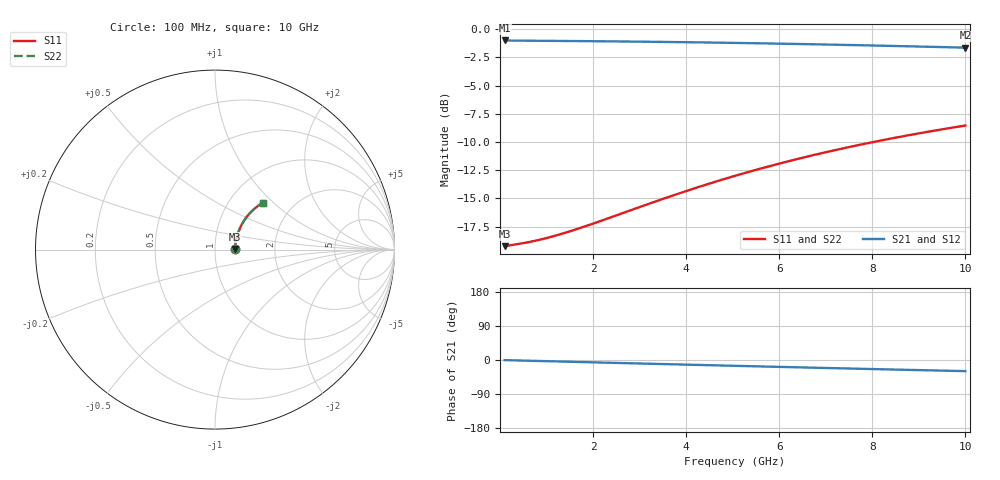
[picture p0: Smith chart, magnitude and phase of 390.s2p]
# Hz S RI R 50.00
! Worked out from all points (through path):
!   100 points, 100 MHz to 10 GHz, reference 50 ohm
!   highest |S21| = -1.00 dB at 100 MHz (marker M1); lowest = -1.6 dB at 10 GHz (marker M2)
!   group delay of S21, straight-line fit = 8.19 ps
!   lowest |S11| = -19.2 dB at 100 MHz (marker M3), VSWR 1.25, Z = 62.2 + j0.424 ohm
!   |S11| at or under -10 dB: start of sweep to 8.03 GHz
!   |S22| runs from -19.2 to -8.5 dB; largest |S21 - S12| = 0
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1e8  0.1091 0.00337  0.8909 -0.00481  0.8909 -0.00481  0.1091 0.00337
5e8  0.1113 0.0167  0.8886 -0.024  0.8886 -0.024  0.1113 0.0167
7e8  0.1123 0.0234  0.8876 -0.0335  0.8876 -0.0335  0.1123 0.0234
9e8  0.1133 0.03  0.8866 -0.043  0.8866 -0.043  0.1133 0.03
1.1e9  0.1144 0.0366  0.8855 -0.0525  0.8855 -0.0525  0.1144 0.0366
1.3e9  0.1156 0.0432  0.8842 -0.0619  0.8842 -0.0619  0.1156 0.0432
1.5e9  0.1169 0.0497  0.8829 -0.0714  0.8829 -0.0714  0.1169 0.0497
1.8e9  0.119 0.0595  0.8806 -0.0854  0.8806 -0.0854  0.119 0.0595
2.6e9  0.126 0.085  0.8732 -0.1225  0.8732 -0.1225  0.126 0.085
3.4e9  0.135 0.1097  0.8637 -0.1588  0.8637 -0.1588  0.135 0.1097
3.9e9  0.1416 0.1246  0.8567 -0.1809  0.8567 -0.1809  0.1416 0.1246
4.3e9  0.1473 0.1362  0.8506 -0.1983  0.8506 -0.1983  0.1473 0.1362
4.7e9  0.1535 0.1475  0.844 -0.2154  0.844 -0.2154  0.1535 0.1475
5.1e9  0.1602 0.1585  0.8369 -0.2322  0.8369 -0.2322  0.1602 0.1585
5.5e9  0.1672 0.1691  0.8294 -0.2486  0.8294 -0.2486  0.1672 0.1691
5.9e9  0.1747 0.1794  0.8215 -0.2647  0.8215 -0.2647  0.1747 0.1794
6.3e9  0.1825 0.1893  0.8131 -0.2804  0.8131 -0.2804  0.1825 0.1893
6.7e9  0.1906 0.1988  0.8044 -0.2957  0.8044 -0.2957  0.1906 0.1988
7.5e9  0.2078 0.2165  0.7859 -0.3252  0.7859 -0.3252  0.2078 0.2165
8.4e9  0.2284 0.2345  0.7637 -0.3564  0.7637 -0.3564  0.2284 0.2345
9.2e9  0.2477 0.2487  0.7428 -0.3822  0.7428 -0.3822  0.2477 0.2487
1e10  0.2676 0.2611  0.7211 -0.4064  0.7211 -0.4064  0.2676 0.2611
